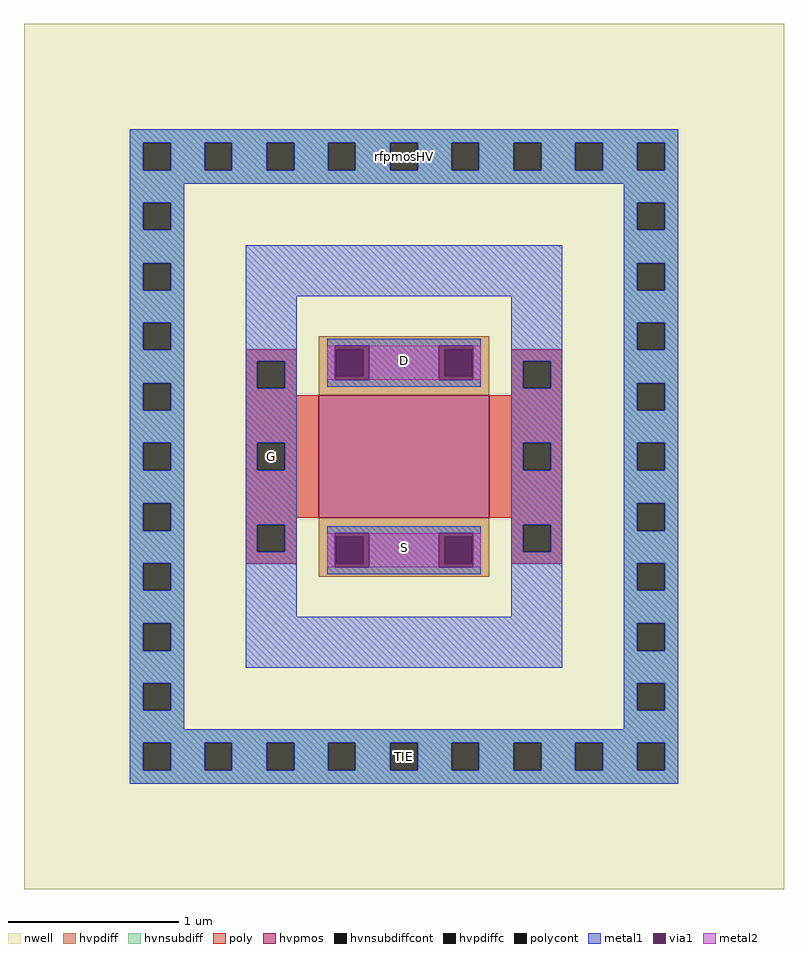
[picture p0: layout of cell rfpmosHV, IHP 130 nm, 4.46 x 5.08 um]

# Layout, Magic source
magic
tech ihp-sg13g2
magscale 1 2
<< nwell >>
rect 0 0 892 1016
<< hvpmos >>
rect 346 436 546 580
<< hvpdiff >>
rect 346 634 546 649
rect 346 602 366 634
rect 398 602 494 634
rect 526 602 546 634
rect 346 580 546 602
rect 346 414 546 436
rect 346 382 366 414
rect 398 382 494 414
rect 526 382 546 414
rect 346 367 546 382
<< hvpdiffc >>
rect 366 602 398 634
rect 494 602 526 634
rect 366 382 398 414
rect 494 382 526 414
<< hvnsubdiff >>
rect 124 876 768 892
rect 124 844 140 876
rect 172 844 212 876
rect 244 844 285 876
rect 317 844 357 876
rect 389 844 430 876
rect 462 844 502 876
rect 534 844 575 876
rect 607 844 647 876
rect 679 844 720 876
rect 752 844 768 876
rect 124 828 768 844
rect 124 806 188 828
rect 124 774 140 806
rect 172 774 188 806
rect 124 735 188 774
rect 124 703 140 735
rect 172 703 188 735
rect 124 665 188 703
rect 124 633 140 665
rect 172 633 188 665
rect 704 806 768 828
rect 704 774 720 806
rect 752 774 768 806
rect 704 735 768 774
rect 704 703 720 735
rect 752 703 768 735
rect 704 665 768 703
rect 124 594 188 633
rect 124 562 140 594
rect 172 562 188 594
rect 124 524 188 562
rect 124 492 140 524
rect 172 492 188 524
rect 124 453 188 492
rect 124 421 140 453
rect 172 421 188 453
rect 124 383 188 421
rect 124 351 140 383
rect 172 351 188 383
rect 704 633 720 665
rect 752 633 768 665
rect 704 594 768 633
rect 704 562 720 594
rect 752 562 768 594
rect 704 524 768 562
rect 704 492 720 524
rect 752 492 768 524
rect 704 453 768 492
rect 704 421 720 453
rect 752 421 768 453
rect 704 383 768 421
rect 124 312 188 351
rect 124 280 140 312
rect 172 280 188 312
rect 124 242 188 280
rect 124 210 140 242
rect 172 210 188 242
rect 124 188 188 210
rect 704 351 720 383
rect 752 351 768 383
rect 704 312 768 351
rect 704 280 720 312
rect 752 280 768 312
rect 704 242 768 280
rect 704 210 720 242
rect 752 210 768 242
rect 704 188 768 210
rect 124 172 768 188
rect 124 140 140 172
rect 172 140 212 172
rect 244 140 285 172
rect 317 140 357 172
rect 389 140 430 172
rect 462 140 502 172
rect 534 140 575 172
rect 607 140 647 172
rect 679 140 720 172
rect 752 140 768 172
rect 124 124 768 140
<< hvnsubdiffcont >>
rect 140 844 172 876
rect 212 844 244 876
rect 285 844 317 876
rect 357 844 389 876
rect 430 844 462 876
rect 502 844 534 876
rect 575 844 607 876
rect 647 844 679 876
rect 720 844 752 876
rect 140 774 172 806
rect 140 703 172 735
rect 140 633 172 665
rect 720 774 752 806
rect 720 703 752 735
rect 140 562 172 594
rect 140 492 172 524
rect 140 421 172 453
rect 140 351 172 383
rect 720 633 752 665
rect 720 562 752 594
rect 720 492 752 524
rect 720 421 752 453
rect 140 280 172 312
rect 140 210 172 242
rect 720 351 752 383
rect 720 280 752 312
rect 720 210 752 242
rect 140 140 172 172
rect 212 140 244 172
rect 285 140 317 172
rect 357 140 389 172
rect 430 140 462 172
rect 502 140 534 172
rect 575 140 607 172
rect 647 140 679 172
rect 720 140 752 172
<< poly >>
rect 260 620 320 634
rect 260 588 274 620
rect 306 588 320 620
rect 260 580 320 588
rect 572 620 632 634
rect 572 588 586 620
rect 618 588 632 620
rect 572 580 632 588
rect 260 524 346 580
rect 260 492 274 524
rect 306 492 346 524
rect 260 436 346 492
rect 546 524 632 580
rect 546 492 586 524
rect 618 492 632 524
rect 546 436 632 492
rect 260 428 320 436
rect 260 396 274 428
rect 306 396 320 428
rect 260 382 320 396
rect 572 428 632 436
rect 572 396 586 428
rect 618 396 632 428
rect 572 382 632 396
<< polycont >>
rect 274 588 306 620
rect 586 588 618 620
rect 274 492 306 524
rect 586 492 618 524
rect 274 396 306 428
rect 586 396 618 428
<< metal1 >>
rect 124 876 768 892
rect 124 844 140 876
rect 172 844 212 876
rect 244 844 285 876
rect 317 844 357 876
rect 389 844 430 876
rect 462 844 502 876
rect 534 844 575 876
rect 607 844 647 876
rect 679 844 720 876
rect 752 844 768 876
rect 124 828 768 844
rect 124 806 188 828
rect 124 774 140 806
rect 172 774 188 806
rect 124 735 188 774
rect 704 806 768 828
rect 704 774 720 806
rect 752 774 768 806
rect 124 703 140 735
rect 172 703 188 735
rect 124 665 188 703
rect 124 633 140 665
rect 172 633 188 665
rect 124 594 188 633
rect 124 562 140 594
rect 172 562 188 594
rect 124 524 188 562
rect 124 492 140 524
rect 172 492 188 524
rect 124 453 188 492
rect 124 421 140 453
rect 172 421 188 453
rect 124 383 188 421
rect 124 351 140 383
rect 172 351 188 383
rect 124 312 188 351
rect 124 280 140 312
rect 172 280 188 312
rect 124 242 188 280
rect 260 696 632 756
rect 260 620 320 696
rect 260 588 274 620
rect 306 588 320 620
rect 356 638 536 646
rect 356 598 365 638
rect 405 598 487 638
rect 527 598 536 638
rect 356 590 536 598
rect 572 620 632 696
rect 260 524 320 588
rect 260 492 274 524
rect 306 492 320 524
rect 260 428 320 492
rect 260 396 274 428
rect 306 396 320 428
rect 572 588 586 620
rect 618 588 632 620
rect 572 524 632 588
rect 572 492 586 524
rect 618 492 632 524
rect 572 428 632 492
rect 260 320 320 396
rect 356 418 536 426
rect 356 378 365 418
rect 405 378 487 418
rect 527 378 536 418
rect 356 370 536 378
rect 572 396 586 428
rect 618 396 632 428
rect 572 320 632 396
rect 260 260 632 320
rect 704 735 768 774
rect 704 703 720 735
rect 752 703 768 735
rect 704 665 768 703
rect 704 633 720 665
rect 752 633 768 665
rect 704 594 768 633
rect 704 562 720 594
rect 752 562 768 594
rect 704 524 768 562
rect 704 492 720 524
rect 752 492 768 524
rect 704 453 768 492
rect 704 421 720 453
rect 752 421 768 453
rect 704 383 768 421
rect 704 351 720 383
rect 752 351 768 383
rect 704 312 768 351
rect 704 280 720 312
rect 752 280 768 312
rect 124 210 140 242
rect 172 210 188 242
rect 124 188 188 210
rect 704 242 768 280
rect 704 210 720 242
rect 752 210 768 242
rect 704 188 768 210
rect 124 172 768 188
rect 124 140 140 172
rect 172 140 212 172
rect 244 140 285 172
rect 317 140 357 172
rect 389 140 430 172
rect 462 140 502 172
rect 534 140 575 172
rect 607 140 647 172
rect 679 140 720 172
rect 752 140 768 172
rect 124 124 768 140
<< via1 >>
rect 365 634 405 638
rect 365 602 366 634
rect 366 602 398 634
rect 398 602 405 634
rect 365 598 405 602
rect 487 634 527 638
rect 487 602 494 634
rect 494 602 526 634
rect 526 602 527 634
rect 487 598 527 602
rect 365 414 405 418
rect 365 382 366 414
rect 366 382 398 414
rect 398 382 405 414
rect 365 378 405 382
rect 487 414 527 418
rect 487 382 494 414
rect 494 382 526 414
rect 526 382 527 414
rect 487 378 527 382
<< metal2 >>
rect 356 598 365 638
rect 405 598 487 638
rect 527 598 536 638
rect 356 378 365 418
rect 405 378 487 418
rect 527 378 536 418
<< labels >>
flabel comment s 446 156 446 156 0 FreeSans 320 0 0 0 TIE
flabel comment s 446 860 446 860 0 FreeSans 480 0 0 0 rfpmosHV
flabel comment s 290 508 290 508 0 FreeSans 600 0 0 0 G
flabel comment s 446 621 446 621 0 FreeSans 600 0 0 0 D
flabel comment s 446 401 446 401 0 FreeSans 600 0 0 0 S
<< end >>
